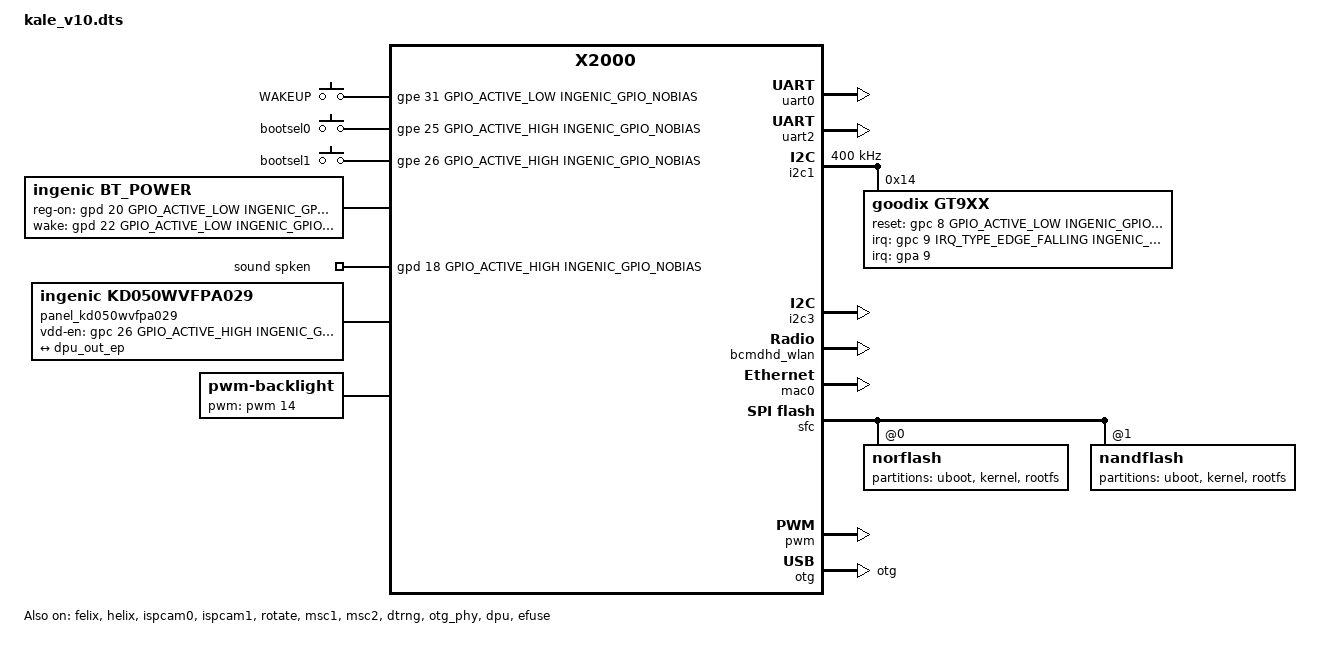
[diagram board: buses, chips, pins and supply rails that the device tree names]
/dts-v1/;

#include <dt-bindings/input/input.h>
#include "x2000.dtsi"
#include <dt-bindings/interrupt-controller/irq.h>
#include <generated/autoconf.h>

#include "halley5_cameras/RD_X2000_HALLEY5_CAMERA_4V3_2KALE.dtsi"

#define LCD_PANEL_MA0060 0


/ {
	compatible = "ingenic,kale", "ingenic,x2000";
	/*chosen {
		bootargs = "console=ttyS1,115200 mem=128M@0x0ip=off init=/linuxrc ubi.mtd=3 root=ubi0:rootfs ubi.mtd=4 rootfstype=ubifs rw";
	};*/

	reserved-memory {
		#address-cells = <1>;
		#size-cells = <1>;
		ranges =<>;

		reserved_memory: reserved_mem@0x3000000{
		      compatible = "shared-dma-pool";
		      reg = <0x03000000 0x1000000>;
		};
	};
};

&uart0 {
	status = "okay";
	pinctrl-names = "default";
	pinctrl-0 = <&uart0_pd>;
};

&uart2 {
	status = "okay";
	pinctrl-names = "default";
	pinctrl-0 = <&uart2_pd>;
};

&uart3 {
	status = "disable";
	pinctrl-names = "default";
	pinctrl-0 = <&uart3_pc>;
};

&cpufreq {
	status = "okay";
	operating-points = <
		/*KHZ uV */
		1200000	900000
		750000	900000
		600000	900000
		500000	900000
		400000	900000
		375000	900000
		300000	900000
		200000	900000
			>;

};

&pinctrl {
	ingenic,gpa_voltage = <GPIO_VOLTAGE_1V8>;
};

&pinctrl {
	touchscreen_pins:touchscreen-pins {
		touchscreen_int_out_high:touchscreen-int-out-high {
			ingenic,pinmux = <&gpc 9 9>;
			ingenic,pinmux-funcsel = <PINCTL_FUNCHILVL>;
		};
		touchscreen_int_out_low:touchscreen-int-out-low {
			ingenic,pinmux = <&gpc 9 9>;
			ingenic,pinmux-funcsel = <PINCTL_FUNCLOLVL>;
		};
		touchscreen_int_input:touchscreen-int-input {
			ingenic,pinmux = <&gpc 9 9>;
			ingenic,pinmux-funcsel = <PINCTL_FUNCINPUT_FE>;
		};
		touchscreen_default:touchscreen-default {
			ingenic,pinmux = <&gpc 9 9>;
			ingenic,pinmux-funcsel = <PINCTL_FUNCINPUT>;
		};
	};
};

&i2c1 {
	clock-frequency = <400000>;
	pinctrl-names = "default";
	pinctrl-0 = <&i2c1_pc>;
	status = "okay";
#if LCD_PANEL_MA0060
	focaltech@0x38{
		compatible = "focaltech,fts"; /* do not modify */
		reg = <0x38>; /* do not modify */
		interrupt-parent = <&gpc>; /* INT pin */
		interrupts = <9>;
		focaltech,reset-gpio = <&gpc 8 GPIO_ACTIVE_LOW INGENIC_GPIO_NOBIAS>; /* RST pin */
		focaltech,irq-gpio = <&gpc 9 IRQ_TYPE_EDGE_FALLING INGENIC_GPIO_NOBIAS>; /* INT pin */
		focaltech,max-touch-number = <5>;
		focaltech,display-coords = <0 0 1080 1920>;	/* resolution */

		/* key settings */
		focaltech,have-key;
		focaltech,key-number = <3>;
		focaltech,keys = <139 172 158>; /* key codes*/
		focaltech,key-x-coords = <200 600 800>; /* keys x coords */
		focaltech,key-y-coords = <2000 2000 2000>; /* keys y coords */

	};
#else
	goodix@0x14{
		compatible = "goodix,gt9xx"; /* do not modify */
		reg = <0x14>; /* do not modify */
		interrupt-parent = <&gpa>; /* INT pin */
		interrupts = <9>;
		reset-gpios = <&gpc 8 GPIO_ACTIVE_LOW INGENIC_GPIO_NOBIAS>; /* RST pin */
		irq-gpios = <&gpc 9 IRQ_TYPE_EDGE_FALLING INGENIC_GPIO_NOBIAS>; /* INT pin */
		goodix,driver-send-cfg = <1>;
		touchscreen-size-x = <480>;
		touchscreen-size-y = <800>;
		goodix,slide-wakeup = <0>;
		goodix,type-a-report = <0>;
		goodix,resume-in-workqueue = <0>;
		goodix,int-sync = <1>;
		goodix,swap-x2y = <0>;
		goodix,auto-update-cfg = <0>;
		goodix,power-off-sleep = <0>;
		goodix,pen-suppress-finger = <0>;
		irq-flags = <2>; /* 1 rising, 2 falling */
		pinctrl-names = "default", "int-output-high", "int-output-low", "int-input";
		pinctrl-0 = <&touchscreen_default>;
		pinctrl-1 = <&touchscreen_int_out_high>;
		pinctrl-2 = <&touchscreen_int_out_low>;
		pinctrl-3 = <&touchscreen_int_input>;
		goodix,cfg-group0 = [
			42 20 03 E0 01 0A 0D 00
			01 08 28 05 50 32 03 05
			00 00 00 00 00 00 00 00
			00 00 00 87 28 09 17 15
			31 0D 00 00 00 9A 03 1C
			00 00 00 00 00 03 64 32
			00 00 00 0F 23 94 C5 02
			07 00 00 04 A3 10 00 8B
			13 00 7A 16 00 66 1B 00
			58 20 00 58 00 00 00 00
			00 00 00 00 00 00 00 00
			00 00 00 00 00 00 00 00
			00 00 00 00 00 00 00 00
			00 00 00 00 00 00 00 00
			02 04 06 08 0A 0C 0E 10
			12 FF FF FF FF FF FF FF
			FF FF FF FF FF FF FF FF
			FF FF FF FF FF FF 00 02
			04 06 08 0A 0C 1D 1E 1F
			20 21 22 24 26 FF FF FF
			FF FF FF FF FF FF FF FF
			FF FF FF FF FF FF FF FF
			FF FF FF FF FF FF FF FF
			4A 01];
	};
#endif
};


&i2c3 {
	status = "okay";
};
&i2c4 {
	status = "disable";
};

&felix {
	status = "okay";
	memory-region=<&reserved_memory>;
};

&helix {
	status = "okay";
	memory-region=<&reserved_memory>;
};

&ispcam0 {
	status = "okay";
	memory-region=<&reserved_memory>;
};

&ispcam1 {
	status = "okay";
	memory-region=<&reserved_memory>;
};

&rotate {
	status = "okay";
	memory-region=<&reserved_memory>;
};

&pdma {
	status = "okay";
};

&msc0 {
	status = "disable";
};

&msc1 {
	status = "okay";
	pinctrl-names ="default","enable", "disable";
	pinctrl-0 = <&msc1_4bit>;
	pinctrl-1 = <&rtc32k_enable>;
	pinctrl-2 = <&rtc32k_disable>;

	sd-uhs-sdr25;
	cap-sd-highspeed;
	max-frequency = <100000000>;
	bus-width = <4>;
	voltage-ranges = <1800 3300>;
	non-removable;
	keep-power-in-suspend;
	ingenic,sdio_clk = <1>;
	/* special property */
	ingenic,sdr-gpios = <0>;
	ingenic,rst-gpios = <0>;
	ingenic,removal-manual; /*removal-dontcare, removal-nonremovable, removal-removable, removal-manual*/

	bcmdhd_wlan: bcmdhd_wlan {
		 compatible = "android,bcmdhd_wlan";
		 ingenic,sdio-irq = <&gpd 0 IRQ_TYPE_LEVEL_HIGH INGENIC_GPIO_NOBIAS>;
		 ingenic,sdio-reset = <&gpd 1 GPIO_ACTIVE_LOW INGENIC_GPIO_NOBIAS>;
	};
};

&msc2 {
	status = "okay";
	pinctrl-names ="default";
	pinctrl-0 = <&msc2_4bit>;
	mmc-hs200-1_8v;
	cap-mmc-highspeed;
	non-removable;
	max-frequency = <200000000>;
	bus-width = <4>;
	non-removable;
	voltage-ranges = <1800 3300>;

	/* special property */
	ingenic,rst-gpios = <0>;
	ingenic,sdr-gpios = <&gpc 0 GPIO_ACTIVE_HIGH INGENIC_GPIO_NOBIAS>;
};


&mac0 {
        pinctrl-names = "default", "reset";
        pinctrl-0 = <&mac0_rmii_p0_normal>, <&mac0_rmii_p1_normal>,<&mac0_phy_clk>;
        pinctrl-1 = <&mac0_rmii_p0_rst>, <&mac0_rmii_p1_normal>,<&mac0_phy_clk>;
        status = "okay";
        ingenic,rst-gpio = <&gpc 5 GPIO_ACTIVE_LOW INGENIC_GPIO_NOBIAS>;
        ingenic,rst-ms = <10>;
	ingenic,rst-delay-ms = <15>;
        ingenic,mac-mode = <RMII>;
        ingenic,mode-reg = <0xb00000e4>;
        ingenic,phy-clk-freq = <50000000>;
};

&sfc {
	status = "okay";
	pinctrl-names = "default";
	pinctrl-0 = <&sfc_pe>;
	ingenic,sfc-init-frequency = <200000000>;
	ingenic,sfc-max-frequency = <400000000>;
	ingenic,use_ofpart_info  = /bits/ 8 <0>;
	ingenic,spiflash_param_offset = <0>;

	norflash@0 {
		partitions {
			compatible = "fixed-partitions";
			#address-cells = <1>;
			#size-cells = <1>;

			/* spi nor flash partition */
			uboot@0 {
				label = "uboot";
				reg = <0x0000000 0x40000>;
				/*read-only;*/
			};

			kernel@40000 {
				label = "kernel";
				reg = <0x40000 0x300000>;
			};

			rootfs@360000 {
				label = "rootfs";
				reg = <0x360000 0xca0000>;
			};
		};
	};

	nandflash@1 {
		partitions {
			compatible = "fixed-partitions";
			#address-cells = <1>;
			#size-cells = <1>;

			/* spi nand flash partition */
			partition@0 {
				label = "uboot";
				reg = <0x0000000 0x100000>;
				/*read-only;*/
			};

			partition@100000 {
				label = "kernel";
				reg = <0x100000 0x800000>;
			};

			partition@900000 {
				label = "rootfs";
				reg = <0x900000 0xf700000>;
			};
		};
	};

};

&spi0 {
	status = "disable";
	pinctrl-names = "default";
	pinctrl-0 = <&spi0_pb>;

	spi-max-frequency = <54000000>;
	num-cs = <2>;
	cs-gpios = <0>, <0>;
	/*cs-gpios = <&gpa 27 GPIO_ACTIVE_HIGH INGENIC_GPIO_NOBIAS>, <&gpa 27 GPIO_ACTIVE_HIGH INGENIC_GPIO_NOBIAS>;*/
	ingenic,chnl = <0>;
	ingenic,allow_cs_same = <1>;
	ingenic,bus_num = <0>;
	ingenic,has_dma_support = <0>;
	ingenic,spi-src-clk = <1>;/*0.ext; 1.ssi*/

	/* Add SPI interface device */
	spidev: spidev@0 {
		compatible = "rohm,dh2228fv";
		reg = <0>;
		spi-max-frequency = <10000000>;
	};
};

&dtrng {
	status = "okay";
};

&pwm {
	pinctrl-names = "default";
/*	pinctrl-0 = <&pwm0_pd>; */
/*	pinctrl-0 = <&pwm1_pc>; */
	pinctrl-0 = <&pwm14_pc>;
	status = "okay";
};

&otg {
	g-use-dma;
	dr_mode = "otg";
	device-using-dma = <1>;
	status = "okay";
};


&otg_phy {
	status = "okay";
	ingenic,vbus-dete-gpio = <&gpd 17 GPIO_ACTIVE_LOW INGENIC_GPIO_NOBIAS>;
	ingenic,drvvbus-gpio = <&gpe 22 GPIO_ACTIVE_HIGH INGENIC_GPIO_NOBIAS>;
};

&as_be_baic {
	pinctrl-names = "default";
	pinctrl-0 =  <&baic4_pd>;
};

&as_dmic {
	pinctrl-names = "default";
	pinctrl-0 = <&dmic_pc_4ch>;
};

&dpu {
	status = "okay";
	ingenic,disable-rdma-fb = <1>;
	//[>Defines the init state of composer fb export infomations.<]
	ingenic,layer-exported = <1 1 0 0>;
	ingenic,layer-frames   = <2 2 2 2>;
	ingenic,layer-framesize = <800 480>, <800 480>, <320 240>, <320 240>;   //[>Max framesize for each layer.<]
	layer,color_mode	= <0 0 0 0>;					//[>src fmt,<]
	layer,src-size       	= <800 480>, <800 480>, <320 240>, <240 200>;	//[>Layer src size should smaller than framesize<]
	layer,target-size	= <800 480>, <800 240>, <160 240>, <240 200>;	//[>Target Size should smaller than src_size.<]
	layer,target-pos	= <0 0>, <0 240>, <340 480>, <100 360>;	//[>target pos , the start point of the target panel.<]
	layer,enable		= <1 1 1 1>;					//[>layer enabled or disabled.<]
	ingenic,logo-pan-layer	= <0>;						//[>on which layer should init logo pan on.<]
	port {
		dpu_out_ep: endpoint {
#if LCD_PANEL_MA0060
			remote-endpoint = <&panel_ma0060_ep>;
#else
			remote-endpoint = <&panel_kd050wvfpa029_ep>;
#endif
	    };
	};
};

&efuse {
	status = "okay";
	ingenic,efuse-en-gpio = <&gpd 19 GPIO_ACTIVE_LOW INGENIC_GPIO_NOBIAS>;
};


/ {

	extclk: extclk {
		clock-frequency = <24000000>;
	};

	gpio_keys: gpio_keys {
		   compatible = "gpio-keys";

		   wakeup {
			   label = "WAKEUP";
			   linux,code = <KEY_WAKEUP>;
			   gpios = <&gpe 31 GPIO_ACTIVE_LOW INGENIC_GPIO_NOBIAS>;
			   gpio-key,wakeup;
		   };

		   bootsel0 {
			   label = "bootsel0";
			   linux,code = <KEY_HOME>;
			   gpios = <&gpe 25 GPIO_ACTIVE_HIGH INGENIC_GPIO_NOBIAS>;
		   };

		   bootsel1 {
			   label = "bootsel1";
			   linux,code = <KEY_BACK>;
			   gpios = <&gpe 26 GPIO_ACTIVE_HIGH INGENIC_GPIO_NOBIAS>;
		   };
	   };

	/*
	 * gpd 21 bt wakeup host
	 * gpd 22 host wakeup bt
	 */
	bt_power {
		compatible = "ingenic,bt_power";
		ingenic,reg-on-gpio = <&gpd 20 GPIO_ACTIVE_LOW INGENIC_GPIO_NOBIAS>;
		ingenic,wake-gpio = <&gpd 22 GPIO_ACTIVE_LOW INGENIC_GPIO_NOBIAS>;
	};

	sound {
		compatible = "ingenic,x2000-sound";
		ingenic,model = "kale_v10";
		ingenic,spken-gpio = <&gpd 18 GPIO_ACTIVE_HIGH INGENIC_GPIO_NOBIAS>;
	};

	display-dbi {
		compatible = "simple-bus";
		#interrupt-cells = <1>;
		#address-cells = <1>;
		#size-cells = <1>;
		ranges = <>;

#if LCD_PANEL_MA0060
		panel_ma0060 {
			compatible = "ingenic,ma0060";
			status = "okay";
			pinctrl-names = "default";
			pinctrl-0 = <&smart_lcd_pb_te>;
			ingenic,vdd-en-gpio = <&gpc 4 GPIO_ACTIVE_LOW INGENIC_GPIO_NOBIAS>;
			ingenic,rst-gpio = <&gpc 25 GPIO_ACTIVE_LOW INGENIC_GPIO_NOBIAS>;
			ingenic,lcd-pwm-gpio = <&gpc 14 GPIO_ACTIVE_LOW INGENIC_GPIO_NOBIAS>;
			port {
				panel_ma0060_ep: endpoint {
					remote-endpoint = <&dpu_out_ep>;
				};
			};
		};
#else
		panel_kd050wvfpa029 {
			compatible = "ingenic,kd050wvfpa029";
			status = "okay";
			pinctrl-names = "default";
			pinctrl-0 = <&tft_lcd_pb_rgb888>;
		//	ingenic,lcd-pwm-gpio = <&gpc 14 GPIO_ACTIVE_HIGH INGENIC_GPIO_NOBIAS>;
			ingenic,vdd-en-gpio = <&gpc 26 GPIO_ACTIVE_HIGH INGENIC_GPIO_NOBIAS>;
			port {
				panel_kd050wvfpa029_ep: endpoint {
					remote-endpoint = <&dpu_out_ep>;
				};
			};
		};
#endif
	};
backlight {
		compatible = "pwm-backlight";
		pwms = <&pwm 14 1000000>; /*[> arg1: pwm channel id [0~15]. arg2: period in ns. <]*/
		brightness-levels = <0 1 2 3 4 5 6 7 8 9 10 11 12 13 14 15>;
		default-brightness-level = <4>;
	};


	spi_gpio {
		status = "disable";
		compatible = "spi-gpio";
		#address-cells = <1>;
		#size-cells = <0>;

		gpio-sck = <&gpb 28 GPIO_ACTIVE_LOW INGENIC_GPIO_NOBIAS>;
		gpio-miso = <&gpb 29 GPIO_ACTIVE_LOW INGENIC_GPIO_NOBIAS>;
		gpio-mosi = <&gpb 30 GPIO_ACTIVE_LOW INGENIC_GPIO_NOBIAS>;
		cs-gpios = <&gpb 31 GPIO_ACTIVE_LOW INGENIC_GPIO_NOBIAS>;
		num-chipselects = <1>;

		/* clients */
		spidev1: spidev1@0 {
			status = "disable";
			compatible = "rohm,dh2228fv";
			reg = <0>;
			spi-max-frequency = <500000>;
		};
	};
#ifdef CONFIG_LINUX_PMEM
	linux_pmem {
		status = "ok";
		compatible = "linux_pmem";
		linux_pmem,name = "pmem";
		linux_pmem,no_allocator = <0>;
		linux_pmem,cached       = <1>;
		linux_pmem,start        = <0>;
		linux_pmem,size         = CONFIG_PMEM_RESERVE_SIZE;
    };
#endif
};


/* Board Sleep GPIO configuration. */
/* <0 1 2 3 .... 31>, set one of the pin to state.*/
&gpa {
	ingenic,gpio-sleep-pullup 	= <>;
	ingenic,gpio-sleep-pulldown 	= <>;
	ingenic,gpio-sleep-hiz		= <>;
	ingenic,gpio-sleep-low		= <>;
	ingenic,gpio-sleep-high		= <>;
};

&gpb {
	ingenic,gpio-sleep-pullup 	= <>;
	ingenic,gpio-sleep-pulldown 	= <>;
	ingenic,gpio-sleep-hiz		= <>;
	ingenic,gpio-sleep-low		= <>;
	ingenic,gpio-sleep-high		= <>;
};

&gpc {
	ingenic,gpio-sleep-pullup 	= <>;
	ingenic,gpio-sleep-pulldown 	= <>;
	ingenic,gpio-sleep-hiz		= <>;
	ingenic,gpio-sleep-low		= <>;
	ingenic,gpio-sleep-high		= <>;
};

&gpd {
	ingenic,gpio-sleep-pullup 	= <>;
	ingenic,gpio-sleep-pulldown 	= <>;
	ingenic,gpio-sleep-hiz		= <>;
	ingenic,gpio-sleep-low		= <>;
	ingenic,gpio-sleep-high		= <>;
};
